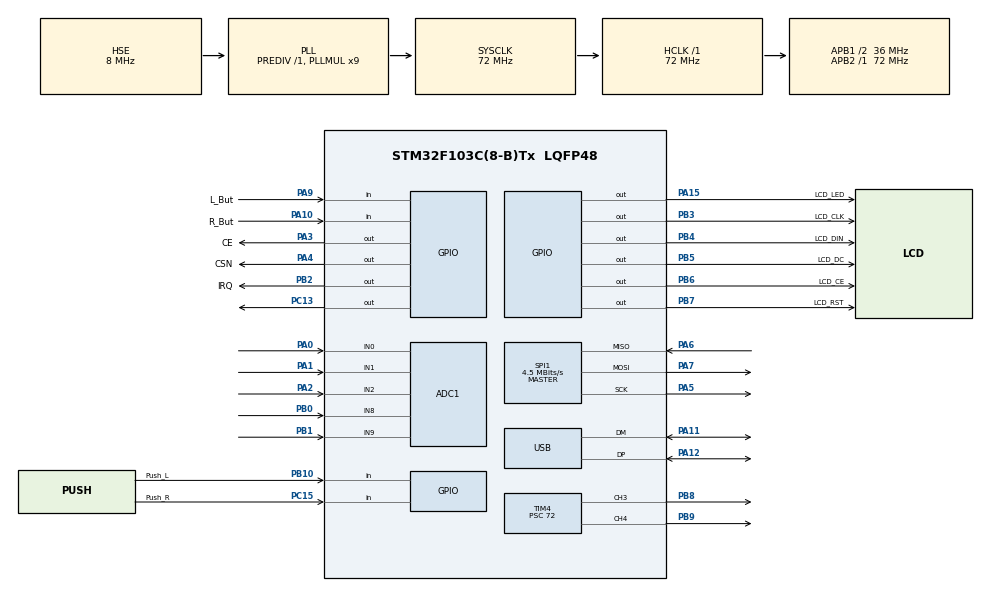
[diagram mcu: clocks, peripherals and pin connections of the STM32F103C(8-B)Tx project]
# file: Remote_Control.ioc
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ADC1.Channel-10\#ChannelRegularConversion=ADC_CHANNEL_8
ADC1.Channel-11\#ChannelRegularConversion=ADC_CHANNEL_9
ADC1.Channel-12\#ChannelRegularConversion=ADC_CHANNEL_2
ADC1.Channel-13\#ChannelRegularConversion=ADC_CHANNEL_0
ADC1.Channel-8\#ChannelRegularConversion=ADC_CHANNEL_0
ADC1.Channel-9\#ChannelRegularConversion=ADC_CHANNEL_1
ADC1.InjNumberOfConversion=0
ADC1.NbrOfConversion=6
ADC1.NbrOfConversionFlag=1
ADC1.Rank-10\#ChannelRegularConversion=3
ADC1.Rank-11\#ChannelRegularConversion=4
ADC1.Rank-12\#ChannelRegularConversion=5
ADC1.Rank-13\#ChannelRegularConversion=6
ADC1.Rank-8\#ChannelRegularConversion=1
ADC1.Rank-9\#ChannelRegularConversion=2
ADC1.SamplingTime-10\#ChannelRegularConversion=ADC_SAMPLETIME_7CYCLES_5
ADC1.SamplingTime-11\#ChannelRegularConversion=ADC_SAMPLETIME_7CYCLES_5
ADC1.SamplingTime-12\#ChannelRegularConversion=ADC_SAMPLETIME_7CYCLES_5
ADC1.SamplingTime-13\#ChannelRegularConversion=ADC_SAMPLETIME_1CYCLE_5
ADC1.SamplingTime-8\#ChannelRegularConversion=ADC_SAMPLETIME_7CYCLES_5
ADC1.SamplingTime-9\#ChannelRegularConversion=ADC_SAMPLETIME_7CYCLES_5
ADC1.master=1
Dma.ADC1.0.Direction=DMA_PERIPH_TO_MEMORY
Dma.ADC1.0.Instance=DMA1_Channel1
Dma.ADC1.0.MemDataAlignment=DMA_MDATAALIGN_HALFWORD
Dma.ADC1.0.MemInc=DMA_MINC_ENABLE
Dma.ADC1.0.Mode=DMA_CIRCULAR
Dma.ADC1.0.PeriphDataAlignment=DMA_PDATAALIGN_HALFWORD
Dma.ADC1.0.PeriphInc=DMA_PINC_DISABLE
Dma.ADC1.0.Priority=DMA_PRIORITY_LOW
Dma.Request0=ADC1
Mcu.Family=STM32F1
Mcu.Name=STM32F103C(8-B)Tx
Mcu.Package=LQFP48
NVIC.DMA1_Channel1_IRQn=true\:0\:0\:false\:false\:true\:false\:true
NVIC.PriorityGroup=NVIC_PRIORITYGROUP_4
NVIC.USB_LP_CAN1_RX0_IRQn=true\:0\:0\:false\:false\:true\:false\:true
PA0-WKUP.Signal=ADCx_IN0
PA1.Signal=ADCx_IN1
PA10.GPIO_Label=R_But
PA10.GPIO_PuPd=GPIO_PULLUP
PA10.Signal=GPIO_Input
PA11.Mode=Device
PA11.Signal=USB_DM
PA12.Mode=Device
PA12.Signal=USB_DP
PA13.Mode=Serial_Wire
PA13.Signal=SYS_JTMS-SWDIO
PA14.Mode=Serial_Wire
PA14.Signal=SYS_JTCK-SWCLK
PA15.GPIO_Label=LCD_LED
PA15.Signal=GPIO_Output
PA2.Signal=ADCx_IN2
PA3.GPIO_Label=CE
PA3.Signal=GPIO_Output
PA4.GPIO_Label=CSN
PA4.Signal=GPIO_Output
PA5.Mode=Full_Duplex_Master
PA5.Signal=SPI1_SCK
PA6.Mode=Full_Duplex_Master
PA6.Signal=SPI1_MISO
PA7.Mode=Full_Duplex_Master
PA7.Signal=SPI1_MOSI
PA9.GPIO_Label=L_But
PA9.GPIO_PuPd=GPIO_PULLUP
PA9.Signal=GPIO_Input
PB0.Signal=ADCx_IN8
PB1.Signal=ADCx_IN9
PB10.GPIO_Label=Push_L
PB10.GPIO_PuPd=GPIO_PULLUP
PB10.Signal=GPIO_Input
PB2.GPIO_Label=IRQ
PB2.Signal=GPIO_Output
PB3.GPIO_Label=LCD_CLK
PB3.Signal=GPIO_Output
PB4.GPIO_Label=LCD_DIN
PB4.Signal=GPIO_Output
PB5.GPIO_Label=LCD_DC
PB5.Signal=GPIO_Output
PB6.GPIO_Label=LCD_CE
PB6.Signal=GPIO_Output
PB7.GPIO_Label=LCD_RST
PB7.Signal=GPIO_Output
PB8.Signal=S_TIM4_CH3
PB9.Signal=S_TIM4_CH4
PC13-TAMPER-RTC.GPIO_ModeDefaultOutputPP=GPIO_MODE_OUTPUT_OD
PC13-TAMPER-RTC.PinState=GPIO_PIN_RESET
PC13-TAMPER-RTC.Signal=GPIO_Output
PC15-OSC32_OUT.GPIO_Label=Push_R
PC15-OSC32_OUT.GPIO_PuPd=GPIO_PULLUP
PC15-OSC32_OUT.Signal=GPIO_Input
PD0-OSC_IN.Mode=HSE-External-Oscillator
PD0-OSC_IN.Signal=RCC_OSC_IN
PD1-OSC_OUT.Mode=HSE-External-Oscillator
PD1-OSC_OUT.Signal=RCC_OSC_OUT
ProjectManager.HeapSize=0x200
ProjectManager.StackSize=0x400
ProjectManager.TargetToolchain=MDK-ARM V5
RCC.ADCPresc=RCC_ADCPCLK2_DIV6
RCC.AHBFreq_Value=72000000
RCC.APB1CLKDivider=RCC_HCLK_DIV2
RCC.APB1Freq_Value=36000000
RCC.APB1TimFreq_Value=72000000
RCC.APB2Freq_Value=72000000
RCC.APB2TimFreq_Value=72000000
RCC.HCLKFreq_Value=72000000
RCC.PLLMUL=RCC_PLL_MUL9
RCC.PLLSourceVirtual=RCC_PLLSOURCE_HSE
RCC.SYSCLKFreq_VALUE=72000000
RCC.SYSCLKSource=RCC_SYSCLKSOURCE_PLLCLK
RCC.USBFreq_Value=48000000
RCC.USBPrescaler=RCC_USBCLKSOURCE_PLL_DIV1_5
SH.ADCx_IN0.0=ADC1_IN0,IN0
SH.ADCx_IN1.0=ADC1_IN1,IN1
SH.ADCx_IN2.0=ADC1_IN2,IN2
SH.ADCx_IN8.0=ADC1_IN8,IN8
SH.ADCx_IN9.0=ADC1_IN9,IN9
SH.S_TIM4_CH3.0=TIM4_CH3,PWM Generation3 CH3
SH.S_TIM4_CH4.0=TIM4_CH4,PWM Generation4 CH4
SPI1.BaudRatePrescaler=SPI_BAUDRATEPRESCALER_16
SPI1.CalculateBaudRate=4.5 MBits/s
SPI1.Direction=SPI_DIRECTION_2LINES
SPI1.Mode=SPI_MODE_MASTER
SPI1.VirtualType=VM_MASTER
TIM4.Channel-PWM\ Generation3\ CH3=TIM_CHANNEL_3
TIM4.Channel-PWM\ Generation4\ CH4=TIM_CHANNEL_4
TIM4.Period=250
TIM4.Prescaler=72
TIM4.Pulse-PWM\ Generation3\ CH3=125
TIM4.Pulse-PWM\ Generation4\ CH4=125
USB_DEVICE.CLASS_NAME_FS=CDC
USB_DEVICE.VirtualMode=Cdc
USB_DEVICE.VirtualModeFS=Cdc_FS
VP_USB_DEVICE_VS_USB_DEVICE_CDC_FS.Mode=CDC_FS
board=custom

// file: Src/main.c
/* USER CODE BEGIN Header */
/**
  ******************************************************************************
  * @file           : main.c
  * @brief          : Main program body
  ******************************************************************************
  * @attention
  *
  * <h2><center>&copy; Copyright (c) 2020 STMicroelectronics.
  * All rights reserved.</center></h2>
  *
  * This software component is licensed by ST under Ultimate Liberty license
  * SLA0044, the "License"; You may not use this file except in compliance with
  * the License. You may obtain a copy of the License at:
  *                             www.st.com/SLA0044
  *
  ******************************************************************************
  */
/* USER CODE END Header */
#include "main.h"
#include "usb_device.h"

/* USER CODE BEGIN Includes */
#include "usbd_cdc_if.h"
#include "radio_mod.h"
#include "nokia5110_LCD.h"
/* USER CODE END Includes */

ADC_HandleTypeDef hadc1;
DMA_HandleTypeDef hdma_adc1;

SPI_HandleTypeDef hspi1;

TIM_HandleTypeDef htim4;

/* USER CODE BEGIN PV */
char str_tx[121] = {0,};
volatile uint16_t adc[5] = {0,}; // у нас пять каналов поэтому массив из пяти элементов
volatile uint8_t flag = 0; // для DMA
uint8_t adc1, adc2, adc3, adc4, adc5;
const float kd = 3.52;
char tx[21], x = 0, m = 1, y = 0;
bool a = true, button = false;
int i = 0;
unsigned char subtrim = 70, sens1 = 30, sens2 = 30;

unsigned char but_right_prev;// переменная для хранения предыдущего состояния стика R
unsigned char but_left_prev;// переменная для хранения предыдущего состояния стика L
unsigned char but_r_prev;// переменная для хранения предыдущего состояния кнопки R
unsigned char but_l_prev;// переменная для хранения предыдущего состояния кнопки L

/* USER CODE END PV */

void SystemClock_Config(void);
static void MX_GPIO_Init(void);
static void MX_SPI1_Init(void);
static void MX_DMA_Init(void);
static void MX_ADC1_Init(void);
static void MX_TIM4_Init(void);
/* USER CODE BEGIN PFP */
void USB_Reset(void);
long map(long x, long in_min, long in_max, long out_min, long out_max);
bool twobuttons(void);
void button_r(void);
void button_l(void);
void led_lcd(void);
// кнопка правого стика
bool right_button(void);
// кнопка левого стика
bool left_button(void);

////////////////MENU////////////////////
void main_menu(unsigned char x);
void flight(void);
void settings(void);
void menu(unsigned char x);
void sensors(void);
void test(void);
/* USER CODE END PFP */

/* USER CODE BEGIN 0 */
void HAL_ADC_ConvCpltCallback(ADC_HandleTypeDef* hadc)
{
    if(hadc->Instance == ADC1)
    {
        flag = 1;
    }
}
/* USER CODE END 0 */

int main(void)
{
  /* USER CODE BEGIN 1 */
	// Настраиваем порты LCD
	LCD_setRST(LCD_RST_GPIO_Port, LCD_RST_Pin);
	LCD_setCE(LCD_CE_GPIO_Port, 	 LCD_CE_Pin);
	LCD_setDC(LCD_DC_GPIO_Port, 	 LCD_DC_Pin);
	LCD_setDIN(LCD_DIN_GPIO_Port, LCD_DIN_Pin);
	LCD_setCLK(LCD_CLK_GPIO_Port, LCD_CLK_Pin);
  /* USER CODE END 1 */

  /* MCU Configuration--------------------------------------------------------*/

  /* Reset of all peripherals, Initializes the Flash interface and the Systick. */
  HAL_Init();

  /* USER CODE BEGIN Init */
	DWT_Init(); // счётчик для микросекундных пауз

	but_right_prev = HAL_GPIO_ReadPin(GPIOC, Push_R_Pin);// переменная для хранения предыдущего состояния стика R
	but_left_prev = HAL_GPIO_ReadPin(GPIOB, Push_L_Pin); // переменная для хранения предыдущего состояния стика L

	but_r_prev = HAL_GPIO_ReadPin(R_But_GPIO_Port, R_But_Pin);// переменная для хранения предыдущего состояния кнопки R
	but_l_prev = HAL_GPIO_ReadPin(L_But_GPIO_Port, L_But_Pin);;// переменная для хранения предыдущего состояния кнопки L

  /* USER CODE END Init */

  /* Configure the system clock */
  SystemClock_Config();

  /* Initialize all configured peripherals */
  MX_GPIO_Init();
  MX_SPI1_Init();
  MX_USB_DEVICE_Init();
  MX_DMA_Init();
  MX_ADC1_Init();
  MX_TIM4_Init();
  /* USER CODE BEGIN 2 */

	const uint64_t pipe1 = 0xE8E8F0F0E2LL; // адрес приемника

	uint8_t connected = isChipConnected(); // проверка на подключените модуля к SPI

	uint8_t res = NRF_Init(); // инициализация

  ////////////// УСТАНОВКИ ////////////////
  enableAckPayload();
  setChannel(11); // 11 канал
  openWritingPipe(pipe1); // 1 труба
  ///////////////////////////////////

// ################################# DEBUG_RC OUT ############################

//HAL_Delay(2000);
//char str[64] = {0,};
//snprintf(str, 64, "Connected: %s\r\n", connected ? "OK" : "NOT OK");
//CDC_Transmit_FS((unsigned char*)str, strlen(str));
//HAL_Delay(500);

//snprintf(str, 64, "Init: %s\r\n", res > 0 && res < 255 ? "OK" : "NOT OK");
//CDC_Transmit_FS((unsigned char*)str, strlen(str));

//if (res > 0 && res < 255)
//{
//	uint8_t status = get_status();
//	snprintf(str, 64, "Status: 0x%02x \r\n", status);
//	CDC_Transmit_FS((unsigned char*)str, strlen(str));
//	HAL_Delay(500);

//	status = getPALevel();
//	snprintf(str, 64, "PA_Level: 0x%02x \n", status);
//	CDC_Transmit_FS((unsigned char*)str, strlen(str));
//	HAL_Delay(500);

//	if(status == 0x00)
//	{
//		CDC_Transmit_FS((unsigned char*)"RF24_PA_MIN\r\n", strlen("RF24_PA_MIN\r\n"));
//	}
//	else if(status == 0x01)
//	{
//		CDC_Transmit_FS((unsigned char*)"RF24_PA_LOW\r\n", strlen("RF24_PA_LOW\r\n"));
//	}
//	else if(status == 0x02)
//	{
//		CDC_Transmit_FS((unsigned char*)"RF24_PA_HIGH\r\n", strlen("RF24_PA_HIGH\r\n"));
//	}
//	else if(status == 0x03)
//	{
//		CDC_Transmit_FS((unsigned char*)"RF24_PA_MAX\r\n", strlen("RF24_PA_MAX\r\n"));
//	}
//	HAL_Delay(500);
//
//	status = getChannel();
//	snprintf(str, 64, "Channel: 0x%02x № %d \r\n", status, status);
//	CDC_Transmit_FS((unsigned char*)str, strlen(str));
//	HAL_Delay(500);

//	status = getDataRate();
//	snprintf(str, 64, "Data_Rate: 0x%02x \r\n", status);
//	CDC_Transmit_FS((unsigned char*)str, strlen(str));
//	HAL_Delay(500);

//	if(status == 0x02)
//	{
//		CDC_Transmit_FS((unsigned char*)"RF24_250KBPS\r\n", strlen("RF24_250KBPS\r\n"));
//	}
//	else if(status == 0x01)
//	{
//		CDC_Transmit_FS((unsigned char*)"RF24_2MBPS\r\n", strlen("RF24_2MBPS\r\n"));
//	}
//	else
//	{
//		CDC_Transmit_FS((unsigned char*)"RF24_1MBPS\r\n", strlen("RF24_1MBPS\r\n"));
//	}
//	HAL_Delay(500);

//	status = getPayloadSize();
//	snprintf(str, 64, "Payload_Size: %d \r\n", status);
//	CDC_Transmit_FS((unsigned char*)str, strlen(str));
//	HAL_Delay(500);

//	status = getCRCLength();
//	snprintf(str, 64, "CRC_Length: 0x%02x \r\n", status);
//	CDC_Transmit_FS((unsigned char*)str, strlen(str));
//	HAL_Delay(500);

//	if(status == 0x00)
//	{
//		CDC_Transmit_FS((unsigned char*)"RF24_CRC_DISABLED\r\n", strlen("RF24_CRC_DISABLED\r\n"));
//	}
//	else if(status == 0x01)
//	{
//		CDC_Transmit_FS((unsigned char*)"RF24_CRC_8\r\n", strlen("RF24_CRC_8\r\n"));
//	}
//	else if(status == 0x02)
//	{
//		CDC_Transmit_FS((unsigned char*)"RF24_CRC_16\r\n", strlen("RF24_CRC_16\r\n"));
//	}
//	HAL_Delay(500);
//}
//else
//{
//	HAL_Delay(500);
//	snprintf(str, 64, "Module is not connected or defective");
//	CDC_Transmit_FS((unsigned char*)str, strlen(str));
//	HAL_Delay(500);
//}

// ############################# END OF DEBUG_RC OUT #########################

  maskIRQ(true, true, true); // маскируем прерывания

	// Запуск АЦП
	HAL_ADCEx_Calibration_Start(&hadc1);
	HAL_ADC_Start_DMA(&hadc1, (uint32_t*)&adc, 4);
	HAL_ADC_Start_IT(&hadc1); // это здесь не нужно

	// Запуск ШИМ
	HAL_TIM_PWM_Start_IT(&htim4, TIM_CHANNEL_4);
	HAL_Delay(80);
	HAL_TIM_PWM_Stop_IT(&htim4, TIM_CHANNEL_4);

	LCD_init(); // Инициализация LCD

	HAL_GPIO_WritePin(LCD_LED_GPIO_Port, LCD_LED_Pin, GPIO_PIN_RESET);
  /* USER CODE END 2 */

  /* Infinite loop */
  /* USER CODE BEGIN WHILE */
  while (1)
  {
		menu(x);
		//test();
    /* USER CODE END WHILE */

	}
}

void SystemClock_Config(void)
{
  RCC_OscInitTypeDef RCC_OscInitStruct = {0};
  RCC_ClkInitTypeDef RCC_ClkInitStruct = {0};
  RCC_PeriphCLKInitTypeDef PeriphClkInit = {0};

  /** Initializes the RCC Oscillators according to the specified parameters
  * in the RCC_OscInitTypeDef structure.
  */
  RCC_OscInitStruct.OscillatorType = RCC_OSCILLATORTYPE_HSE;
  RCC_OscInitStruct.HSEState = RCC_HSE_ON;
  RCC_OscInitStruct.HSEPredivValue = RCC_HSE_PREDIV_DIV1;
  RCC_OscInitStruct.HSIState = RCC_HSI_ON;
  RCC_OscInitStruct.PLL.PLLState = RCC_PLL_ON;
  RCC_OscInitStruct.PLL.PLLSource = RCC_PLLSOURCE_HSE;
  RCC_OscInitStruct.PLL.PLLMUL = RCC_PLL_MUL9;
  if (HAL_RCC_OscConfig(&RCC_OscInitStruct) != HAL_OK)
  {
    Error_Handler();
  }
  /** Initializes the CPU, AHB and APB buses clocks
  */
  RCC_ClkInitStruct.ClockType = RCC_CLOCKTYPE_HCLK|RCC_CLOCKTYPE_SYSCLK
                              |RCC_CLOCKTYPE_PCLK1|RCC_CLOCKTYPE_PCLK2;
  RCC_ClkInitStruct.SYSCLKSource = RCC_SYSCLKSOURCE_PLLCLK;
  RCC_ClkInitStruct.AHBCLKDivider = RCC_SYSCLK_DIV1;
  RCC_ClkInitStruct.APB1CLKDivider = RCC_HCLK_DIV2;
  RCC_ClkInitStruct.APB2CLKDivider = RCC_HCLK_DIV1;

  if (HAL_RCC_ClockConfig(&RCC_ClkInitStruct, FLASH_LATENCY_2) != HAL_OK)
  {
    Error_Handler();
  }
  PeriphClkInit.PeriphClockSelection = RCC_PERIPHCLK_ADC|RCC_PERIPHCLK_USB;
  PeriphClkInit.AdcClockSelection = RCC_ADCPCLK2_DIV6;
  PeriphClkInit.UsbClockSelection = RCC_USBCLKSOURCE_PLL_DIV1_5;
  if (HAL_RCCEx_PeriphCLKConfig(&PeriphClkInit) != HAL_OK)
  {
    Error_Handler();
  }
}

static void MX_ADC1_Init(void)
{

  ADC_ChannelConfTypeDef sConfig = {0};

  /** Common config
  */
  hadc1.Instance = ADC1;
  hadc1.Init.ScanConvMode = ADC_SCAN_ENABLE;
  hadc1.Init.ContinuousConvMode = DISABLE;
  hadc1.Init.DiscontinuousConvMode = DISABLE;
  hadc1.Init.ExternalTrigConv = ADC_SOFTWARE_START;
  hadc1.Init.DataAlign = ADC_DATAALIGN_RIGHT;
  hadc1.Init.NbrOfConversion = 6;
  if (HAL_ADC_Init(&hadc1) != HAL_OK)
  {
    Error_Handler();
  }
  /** Configure Regular Channel
  */
  sConfig.Channel = ADC_CHANNEL_0;
  sConfig.Rank = ADC_REGULAR_RANK_1;
  sConfig.SamplingTime = ADC_SAMPLETIME_7CYCLES_5;
  if (HAL_ADC_ConfigChannel(&hadc1, &sConfig) != HAL_OK)
  {
    Error_Handler();
  }
  /** Configure Regular Channel
  */
  sConfig.Channel = ADC_CHANNEL_1;
  sConfig.Rank = ADC_REGULAR_RANK_2;
  if (HAL_ADC_ConfigChannel(&hadc1, &sConfig) != HAL_OK)
  {
    Error_Handler();
  }
  /** Configure Regular Channel
  */
  sConfig.Channel = ADC_CHANNEL_8;
  sConfig.Rank = ADC_REGULAR_RANK_3;
  if (HAL_ADC_ConfigChannel(&hadc1, &sConfig) != HAL_OK)
  {
    Error_Handler();
  }
  /** Configure Regular Channel
  */
  sConfig.Channel = ADC_CHANNEL_9;
  sConfig.Rank = ADC_REGULAR_RANK_4;
  if (HAL_ADC_ConfigChannel(&hadc1, &sConfig) != HAL_OK)
  {
    Error_Handler();
  }
  /** Configure Regular Channel
  */
  sConfig.Channel = ADC_CHANNEL_2;
  sConfig.Rank = ADC_REGULAR_RANK_5;
  if (HAL_ADC_ConfigChannel(&hadc1, &sConfig) != HAL_OK)
  {
    Error_Handler();
  }

}

static void MX_SPI1_Init(void)
{

  /* SPI1 parameter configuration*/
  hspi1.Instance = SPI1;
  hspi1.Init.Mode = SPI_MODE_MASTER;
  hspi1.Init.Direction = SPI_DIRECTION_2LINES;
  hspi1.Init.DataSize = SPI_DATASIZE_8BIT;
  hspi1.Init.CLKPolarity = SPI_POLARITY_LOW;
  hspi1.Init.CLKPhase = SPI_PHASE_1EDGE;
  hspi1.Init.NSS = SPI_NSS_SOFT;
  hspi1.Init.BaudRatePrescaler = SPI_BAUDRATEPRESCALER_16;
  hspi1.Init.FirstBit = SPI_FIRSTBIT_MSB;
  hspi1.Init.TIMode = SPI_TIMODE_DISABLE;
  hspi1.Init.CRCCalculation = SPI_CRCCALCULATION_DISABLE;
  hspi1.Init.CRCPolynomial = 10;
  if (HAL_SPI_Init(&hspi1) != HAL_OK)
  {
    Error_Handler();
  }

}

static void MX_TIM4_Init(void)
{

  TIM_MasterConfigTypeDef sMasterConfig = {0};
  TIM_OC_InitTypeDef sConfigOC = {0};

  htim4.Instance = TIM4;
  htim4.Init.Prescaler = 72;
  htim4.Init.CounterMode = TIM_COUNTERMODE_UP;
  htim4.Init.Period = 250;
  htim4.Init.ClockDivision = TIM_CLOCKDIVISION_DIV1;
  htim4.Init.AutoReloadPreload = TIM_AUTORELOAD_PRELOAD_DISABLE;
  if (HAL_TIM_PWM_Init(&htim4) != HAL_OK)
  {
    Error_Handler();
  }
  sMasterConfig.MasterOutputTrigger = TIM_TRGO_RESET;
  sMasterConfig.MasterSlaveMode = TIM_MASTERSLAVEMODE_DISABLE;
  if (HAL_TIMEx_MasterConfigSynchronization(&htim4, &sMasterConfig) != HAL_OK)
  {
    Error_Handler();
  }
  sConfigOC.OCMode = TIM_OCMODE_PWM1;
  sConfigOC.Pulse = 125;
  sConfigOC.OCPolarity = TIM_OCPOLARITY_HIGH;
  sConfigOC.OCFastMode = TIM_OCFAST_DISABLE;
  if (HAL_TIM_PWM_ConfigChannel(&htim4, &sConfigOC, TIM_CHANNEL_3) != HAL_OK)
  {
    Error_Handler();
  }
  if (HAL_TIM_PWM_ConfigChannel(&htim4, &sConfigOC, TIM_CHANNEL_4) != HAL_OK)
  {
    Error_Handler();
  }
  HAL_TIM_MspPostInit(&htim4);

}

static void MX_DMA_Init(void)
{

  /* DMA controller clock enable */
  __HAL_RCC_DMA1_CLK_ENABLE();

  /* DMA interrupt init */
  /* DMA1_Channel1_IRQn interrupt configuration */
  HAL_NVIC_SetPriority(DMA1_Channel1_IRQn, 0, 0);
  HAL_NVIC_EnableIRQ(DMA1_Channel1_IRQn);

}

static void MX_GPIO_Init(void)
{
  GPIO_InitTypeDef GPIO_InitStruct = {0};

  /* GPIO Ports Clock Enable */
  __HAL_RCC_GPIOC_CLK_ENABLE();
  __HAL_RCC_GPIOD_CLK_ENABLE();
  __HAL_RCC_GPIOA_CLK_ENABLE();
  __HAL_RCC_GPIOB_CLK_ENABLE();

	USB_Reset();

  /*Configure GPIO pin Output Level */
  HAL_GPIO_WritePin(GPIOC, GPIO_PIN_13, GPIO_PIN_RESET);

  /*Configure GPIO pin Output Level */
  HAL_GPIO_WritePin(GPIOA, CE_Pin|CSN_Pin|LCD_LED_Pin, GPIO_PIN_RESET);

  /*Configure GPIO pin Output Level */
  HAL_GPIO_WritePin(GPIOB, IRQ_Pin|LCD_CLK_Pin|LCD_DIN_Pin|LCD_DC_Pin
                          |LCD_CE_Pin|LCD_RST_Pin, GPIO_PIN_RESET);

  /*Configure GPIO pin : PC13 */
  GPIO_InitStruct.Pin = GPIO_PIN_13;
  GPIO_InitStruct.Mode = GPIO_MODE_OUTPUT_OD;
  GPIO_InitStruct.Pull = GPIO_NOPULL;
  GPIO_InitStruct.Speed = GPIO_SPEED_FREQ_LOW;
  HAL_GPIO_Init(GPIOC, &GPIO_InitStruct);

  /*Configure GPIO pin : Push_R_Pin */
  GPIO_InitStruct.Pin = Push_R_Pin;
  GPIO_InitStruct.Mode = GPIO_MODE_INPUT;
  GPIO_InitStruct.Pull = GPIO_PULLUP;
  HAL_GPIO_Init(Push_R_GPIO_Port, &GPIO_InitStruct);

  /*Configure GPIO pins : CE_Pin CSN_Pin LCD_LED_Pin */
  GPIO_InitStruct.Pin = CE_Pin|CSN_Pin|LCD_LED_Pin;
  GPIO_InitStruct.Mode = GPIO_MODE_OUTPUT_PP;
  GPIO_InitStruct.Pull = GPIO_NOPULL;
  GPIO_InitStruct.Speed = GPIO_SPEED_FREQ_LOW;
  HAL_GPIO_Init(GPIOA, &GPIO_InitStruct);

  /*Configure GPIO pins : IRQ_Pin LCD_CLK_Pin LCD_DIN_Pin LCD_DC_Pin
                           LCD_CE_Pin LCD_RST_Pin */
  GPIO_InitStruct.Pin = IRQ_Pin|LCD_CLK_Pin|LCD_DIN_Pin|LCD_DC_Pin
                          |LCD_CE_Pin|LCD_RST_Pin;
  GPIO_InitStruct.Mode = GPIO_MODE_OUTPUT_PP;
  GPIO_InitStruct.Pull = GPIO_NOPULL;
  GPIO_InitStruct.Speed = GPIO_SPEED_FREQ_LOW;
  HAL_GPIO_Init(GPIOB, &GPIO_InitStruct);

  /*Configure GPIO pin : Push_L_Pin */
  GPIO_InitStruct.Pin = Push_L_Pin;
  GPIO_InitStruct.Mode = GPIO_MODE_INPUT;
  GPIO_InitStruct.Pull = GPIO_PULLUP;
  HAL_GPIO_Init(Push_L_GPIO_Port, &GPIO_InitStruct);

  /*Configure GPIO pins : L_But_Pin R_But_Pin */
  GPIO_InitStruct.Pin = L_But_Pin|R_But_Pin;
  GPIO_InitStruct.Mode = GPIO_MODE_INPUT;
  GPIO_InitStruct.Pull = GPIO_PULLUP;
  HAL_GPIO_Init(GPIOA, &GPIO_InitStruct);

}

/* USER CODE BEGIN 4 */
// для сброса USB
void USB_Reset(void)
{
	 GPIO_InitTypeDef GPIO_InitStruct = {0};

	 // инициализируем пин DP как выход
	 GPIO_InitStruct.Pin = GPIO_PIN_12;
	 GPIO_InitStruct.Mode = GPIO_MODE_OUTPUT_PP;
	 GPIO_InitStruct.Speed = GPIO_SPEED_FREQ_LOW;
	 HAL_GPIO_Init(GPIOA, &GPIO_InitStruct);
	 HAL_GPIO_WritePin(GPIOA, GPIO_PIN_12, GPIO_PIN_RESET); // прижимаем DP к "земле"
	 for(uint16_t i = 0; i < 2000; i++) {}; // немного ждём

	 // переинициализируем пин для работы с USB
	 GPIO_InitStruct.Mode = GPIO_MODE_INPUT;
	 GPIO_InitStruct.Pull = GPIO_NOPULL;
	 HAL_GPIO_Init(GPIOA, &GPIO_InitStruct);
	 for(uint16_t i = 0; i < 2000; i++) {}; // немного ждём
}

// функция для отображения текущего меню
void menu(unsigned char x)
{
	switch(x)
	{
		case 0: // находимся в главном меню
		while(x == 0) //
		{
			// чтение текущего (нового) состояния кнопки
			unsigned char but_right_cur = HAL_GPIO_ReadPin(GPIOC, Push_R_Pin);
			unsigned char but_left_cur = HAL_GPIO_ReadPin(GPIOB, Push_L_Pin);

			unsigned char but_r_cur = HAL_GPIO_ReadPin(R_But_GPIO_Port, R_But_Pin);
			unsigned char but_l_cur = HAL_GPIO_ReadPin(L_But_GPIO_Port, L_But_Pin);

			// кнопка была нажата, если
			// прежнее состояние - отпущена (бит = 1),
			// а новое состояние - нажата (бит = 0)
			if ((but_right_prev == GPIO_PIN_RESET) && (but_right_cur == GPIO_PIN_SET))
			{
				m++;
				if (m > 4)
				{
					m = 1;
				}
				HAL_GPIO_TogglePin(GPIOC, GPIO_PIN_13);
			}
				// запоминаем текущее состояние кнопки
				but_right_prev = but_right_cur;

		if ((but_left_prev == GPIO_PIN_RESET) && (but_left_cur == GPIO_PIN_SET))
			{
				m--;
				if (m < 1)
				{
					m = 4;
				}
				HAL_GPIO_TogglePin(GPIOC, GPIO_PIN_13);
			}
				// запоминаем текущее состояние кнопки
			but_left_prev = but_left_cur;

			main_menu(m);
			led_lcd();

			if (twobuttons())
			{
				x = m;
				LCD_clrScr();
			}
		}
//		break;

		case 1: // в режиме полёта
		while(x == 1)
		{
			flight();
			if (twobuttons()) // если зажали две кнопки, то выходим
			{
				x = 0; // возвращаемся в главное меню
				m = 1;
				button = false; // Чтобы зайти с выкл мотором, если вышли с вкл
				LCD_clrScr();
			}
			led_lcd();
		}
//		break;

		case 2: // находимся в настройках
		while(x == 2)
		{			//
			settings();
			if (twobuttons()) // если зажали две кнопки, то выходим
			{
				x = 0; // возвращаемся в главное меню
				m = 2; // возвращаемся в главное меню на позицию настроек
				LCD_clrScr();
			}
			led_lcd();
		}
//		break;

		case 3: // находимся в .....
		while(x == 3)
		{
//			// чтение текущего (нового) состояния кнопки
//			unsigned char but_right_cur = HAL_GPIO_ReadPin(GPIOC, Push_R_Pin);
//			unsigned char but_left_cur = HAL_GPIO_ReadPin(GPIOB, Push_L_Pin);
//
//			// кнопка была нажата, если
//			// прежнее состояние - отпущена (бит = 1),
//			// а новое состояние - нажата (бит = 0)
//			if ((but_right_prev == GPIO_PIN_RESET) && (but_right_cur == GPIO_PIN_SET))
//			{
//				subtrim++;
//				HAL_GPIO_TogglePin(GPIOC, GPIO_PIN_13);
//			}
//				// запоминаем текущее состояние кнопки
//				but_right_prev = but_right_cur;
//
//			if ((but_left_prev == GPIO_PIN_RESET) && (but_left_cur == GPIO_PIN_SET))
//			{
//				subtrim--;
//				HAL_GPIO_TogglePin(GPIOC, GPIO_PIN_13);
//			}
//				// запоминаем текущее состояние кнопки
//			but_left_prev = but_left_cur;

			sensors();
			if (twobuttons()) // если зажали две кнопки, то выходим
			{
				x = 0; // возвращаемся в главное меню
				m = 3; // позиция сенсоров
				LCD_clrScr();
			}
			led_lcd();
		}
		break;
	}
}

//MENU
void main_menu(unsigned char x)
{
	LCD_print("MENU", 30, 0);
	switch(x)
	{
		case 1:
		LCD_invertText(true);
		LCD_print("Flight", 23, 1);
		LCD_invertText(false);
		LCD_print("Settings", 23, 2);
		LCD_print("Sensors", 23, 3);
		LCD_print("Somethings", 23, 4);
		break;

		case 2:
		LCD_print("Flight", 23, 1);
		LCD_invertText(true);
		LCD_print("Settings", 23, 2);
		LCD_invertText(false);
		LCD_print("Sensors", 23, 3);
		LCD_print("Somethings", 23, 4);
		break;

		case 3:
		LCD_print("Flight", 23, 1);
		LCD_print("Settings", 23, 2);
		LCD_invertText(true);
		LCD_print("Sensors", 23, 3);
		LCD_invertText(false);
		LCD_print("Somethings", 23, 4);
		break;

		case 4:
		LCD_print("Flight", 23, 1);
		LCD_print("Settings", 23, 2);
		LCD_print("Sensors", 23, 3);
		LCD_invertText(true);
		LCD_print("Somethings", 23, 4);
		LCD_invertText(false);
		break;
	}
}

// Режим полёта
void flight(void)
{
	LCD_print("Flight Mode", 10, 0);

	uint8_t nrf_data[32] = {0,}; // буфер указываем максимального размера

	if(flag)
	{
		flag = 0;

		HAL_ADC_Stop_DMA(&hadc1); // это необязательно

		adc1 = map(adc[1], 0, 4095, 1, 255); // 1 канал высота
		adc2 = map(adc[0], 0, 4095, 1, 255); // 0 канал элероны
		adc3 = map(adc[3], 0, 4095, 1, 255); // 9 канал АЦП - мотор
		adc4 = map(adc[4], 0, 4095, 1, 255); // 2 канал АЦП - киль

		LCD_print("X1:", 0, 1);
		LCD_var_str(18, 1, adc[4], 4);
		LCD_print("X2:", 43, 1);
		LCD_var_str(60, 1, adc[0], 4);

		LCD_print("Y1:", 0, 2);
		LCD_var_str(18, 2, adc[3], 4);
		LCD_print("Y2:", 43, 2);
		LCD_var_str(60, 2, adc[1], 4);

		float vbat = (3.3/4095)*adc[2]*kd * 10; // 3,3 В на делителе при 11,6 В максимальном, дальше делитель не имее смысла

		LCD_print("VBat:", 0, 3);
		LCD_var_str(30, 3, vbat, 3);
		LCD_print("Bat:", 43, 3);

		LCD_print("Signal:", 0, 4);

		///////////////////////////////////// ПЕРЕДАЧА /////////////////////////////////////////////
		nrf_data[0] = 77;
		nrf_data[1] = 86;
		nrf_data[2] = 97;

		nrf_data[3] = adc1;
		nrf_data[4] = adc2;
		nrf_data[7] = adc4;

		if (button){
		nrf_data[5] = adc3;
		}
		else{
			nrf_data[5] = 1;
		}
		nrf_data[6] = 50; // установки не шлём

		uint8_t remsg = 0; // переменная для приёма байта пришедшего вместе с ответом
		float vbatreceiver; // для вычисления напряжения батареи еа приемнике

		if(write(&nrf_data, strlen((const char*)nrf_data))) // отправляем данные
		{
			if(isAckPayloadAvailable()) // проверяем пришло ли что-то вместе с ответом
			{
			read(&remsg, sizeof(remsg)); // получаем напряжение с батареи с ответом подтверждения
				vbatreceiver = remsg / 10; // вычитаем напругу батареи, делим на 10 чтобы получить реальное число
				LCD_var_str(65, 3, vbatreceiver, 3);
				LCD_print("Yes", 45, 4);
			}
		}
		else
		LCD_print("No", 45, 4);

		adc[0] = 0;
		adc[1] = 0;
		adc[2] = 0;
		adc[3] = 0;
		adc[4] = 0;
		HAL_ADC_Start_DMA(&hadc1, (uint32_t*)&adc, 5);
	}

		// чтение текущего (нового) состояния кнопки
		unsigned char but_right_cur = HAL_GPIO_ReadPin(GPIOC, Push_R_Pin);
		unsigned char but_left_cur = HAL_GPIO_ReadPin(GPIOB, Push_L_Pin);

		if ((but_right_prev == GPIO_PIN_RESET) && (but_right_cur == GPIO_PIN_SET))
		{
			button = !button;
			// по нажатию R инвертируем светодиод PC13
			HAL_GPIO_TogglePin(GPIOC, GPIO_PIN_13);
		}
		but_right_prev = but_right_cur;

		if ((but_left_prev == GPIO_PIN_RESET) && (but_left_cur == GPIO_PIN_SET))
		{
			button = !button;
			// по нажатию R инвертируем светодиод PC13
			HAL_GPIO_TogglePin(GPIOC, GPIO_PIN_13);
		}
		but_left_prev = but_left_cur;
}

// Подменю настроек
void settings(void)
{
	uint8_t nrf_data[32] = {0,}; // буфер указываем максимального размера

	bool pin1 = HAL_GPIO_ReadPin(GPIOC, Push_R_Pin);
	bool pin2 = HAL_GPIO_ReadPin(GPIOB, Push_L_Pin);

	bool pin3 = HAL_GPIO_ReadPin(R_But_GPIO_Port, R_But_Pin);
	bool pin4 = HAL_GPIO_ReadPin(L_But_GPIO_Port, L_But_Pin);

	if(flag)
	{
		flag = 0;

		adc1 = map(adc[1], 0, 4095, 1, 255); // 1 канал высота
		adc2 = map(adc[0], 0, 4095, 1, 255); // 0 канал элероны
		adc3 = map(adc[3], 0, 4095, 1, 255); // 9 канал АЦП - мотор
		adc4 = map(adc[4], 0, 4095, 1, 255); // 2 канал АЦП - киль

		float vbat = (3.3/4095)*adc[2]*kd * 10;

		HAL_ADC_Stop_DMA(&hadc1);

		LCD_print("X1:", 0, 0);
		LCD_var_str(18, 0, adc[4], 4);
		LCD_print("X2:", 43, 0);
		LCD_var_str(60, 0, adc[0], 4);

		LCD_print("Y1:", 0, 1);
		LCD_var_str(18, 1, adc[3], 4);
		LCD_print("Y2:", 43, 1);
		LCD_var_str(60, 1, adc[1], 4);

		LCD_print("A5:", 0, 2);
		LCD_var_str(18, 2, adc[2], 4);

		LCD_print("VBat:", 0, 3);
		LCD_var_str(30, 3, vbat, 3);
		LCD_print("Bat:", 43, 3);

		LCD_print("Signal:", 0, 4);

		nrf_data[0] = 77;
		nrf_data[1] = 86;
		nrf_data[2] = 97;
		nrf_data[3] = adc1; //
		nrf_data[4] = adc2; //
		nrf_data[5] = 1;
		nrf_data[6] = 100; // чтобы приемник знал, что шлем установки
		nrf_data[7] = subtrim;
		nrf_data[8] = sens1;
		nrf_data[9] = sens2;
		nrf_data[10] = adc4;

		uint8_t remsg = 0; // переменная для приёма байта пришедшего вместе с ответом
		float vbatreceiver; // для вычисления напряжения батареи на приемнике

		if(write(&nrf_data, strlen((const char*)nrf_data))) // отправляем данные
		{
			if(isAckPayloadAvailable()) // проверяем пришло ли что-то вместе с ответом
			{
				read(&remsg, sizeof(remsg)); // получаем напряжение с батареи с ответом подтверждения
				vbatreceiver = remsg / 10; // вычитаем напругу батареи, делим на 10 чтобы получить реальное число
				LCD_var_str(65, 3, vbatreceiver, 3);
				LCD_print("Yes", 45, 4);
				snprintf(str_tx, 64, "Signal: Yes \r\n");
				CDC_Transmit_FS((unsigned char*)str_tx, strlen(str_tx));
			}
		}
		else
		snprintf(str_tx, 64, "Signal: Noo \r\n");
		CDC_Transmit_FS((unsigned char*)str_tx, strlen(str_tx));
		LCD_print("No", 45, 4);

		snprintf(str_tx, 120, "ADC1 X1:%d Y1:%d  M:%d Bat:%d Vbat:%d J_R:%d J_L:%d But_R:%d But_L:%d subtr:%d sens1:%d sens2:%d \r\n", nrf_data[3], nrf_data[4], adc3, (int)vbat*10, (int)vbatreceiver*10,
		!pin1, !pin2, !pin3, !pin4, nrf_data[7], nrf_data[8], nrf_data[9]);
		CDC_Transmit_FS((uint8_t*)str_tx, strlen(str_tx));

		adc[0] = 0;
		adc[1] = 0;
		adc[2] = 0;
		adc[3] = 0;
		adc[4] = 0;
		HAL_ADC_Start_DMA(&hadc1, (uint32_t*)&adc, 5);
	}
}

// Подменю датчиков
void sensors(void)
{
	//чтение текущего (нового) состояния кнопки
	unsigned char but_right_cur = HAL_GPIO_ReadPin(GPIOC, Push_R_Pin);
	unsigned char but_left_cur = HAL_GPIO_ReadPin(GPIOB, Push_L_Pin);
	unsigned char but_r_cur = HAL_GPIO_ReadPin(R_But_GPIO_Port, R_But_Pin);
	unsigned char but_l_cur = HAL_GPIO_ReadPin(L_But_GPIO_Port, L_But_Pin);

	uint8_t nrf_data[32] = {0,}; // буфер указываем максимального размера
	float vbat;

	if(flag)
	{
		flag = 0;

		HAL_ADC_Stop_DMA(&hadc1); // это необязательно

		adc1 = map(adc[1], 0, 4095, 1, 256); // 1 канал высота
		adc2 = map(adc[0], 0, 4095, 1, 256); // 0 канал элероны
		adc3 = map(adc[3], 0, 4095, 1, 256); // 9 канал АЦП - мотор
		adc4 = map(adc[4], 0, 4095, 1, 255); // 2 канал АЦП - киль

		vbat = (3.3/4095)*adc[2]*kd * 10; // 3,3 В на делителе при 11,6 В максимальном, дальше делитель не имее смысла

		adc[0] = 0;
		adc[1] = 0;
		adc[2] = 0;
		adc[3] = 0;
		adc[4] = 0;
		HAL_ADC_Start_DMA(&hadc1, (uint32_t*)&adc, 5);
	}

	LCD_print("Sens1:", 0, 0);
	LCD_var_str(40, 0, sens1, 4);

	LCD_print("Subtrim:", 0, 1);
	LCD_var_str(40, 1, subtrim, 4);

	LCD_print("Sens2", 0, 2);
	LCD_var_str(40, 2, sens2, 4);

	LCD_print("VBat:", 0, 3);
	LCD_var_str(30, 3, vbat, 3);
	LCD_print("Bat:", 43, 3);
	LCD_print("Signal:", 0, 4);

	nrf_data[0] = 77;
	nrf_data[1] = 86;
	nrf_data[2] = 97;
	nrf_data[3] = adc1; //
	nrf_data[4] = adc2; //
	nrf_data[5] = 1;
	nrf_data[6] = 100; // чтобы приемник знал, что шлем установки
	nrf_data[7] = subtrim;
	nrf_data[8] = sens1;
	nrf_data[9] = sens2;
	nrf_data[10] = adc4;

	uint8_t remsg = 0; // переменная для приёма байта пришедшего вместе с ответом
	float vbatreceiver; // для вычисления напряжения батареи на приемнике

	if(write(&nrf_data, strlen((const char*)nrf_data))) // отправляем данные
	{
		if(isAckPayloadAvailable()) // проверяем пришло ли что-то вместе с ответом
		{
		read(&remsg, sizeof(remsg)); // получаем напряжение с батареи с ответом подтверждения
			vbatreceiver = remsg / 10; // вычитаем напругу батареи, делим на 10 чтобы получить реальное число
			LCD_var_str(65, 3, vbatreceiver, 3);
			snprintf(str_tx, 64, "Bat: %d \r\n", (int)vbatreceiver*10);
			CDC_Transmit_FS((unsigned char*)str_tx, strlen(str_tx));
			LCD_print("Yes", 45, 4);
		}
	}
	else
	LCD_print("No", 45, 4);

	snprintf(str_tx, 63, "ADC1 X1:%d Y1:%d  M:%d Ch:%d subtr:%d\n", nrf_data[3], nrf_data[4], nrf_data[5], nrf_data[6], nrf_data[7]);
	CDC_Transmit_FS((uint8_t*)str_tx, strlen(str_tx));

	// кнопка была нажата, если
	// прежнее состояние - отпущена (бит = 1),
	// а новое состояние - нажата (бит = 0)
	if ((but_right_prev == GPIO_PIN_RESET) && (but_right_cur == GPIO_PIN_SET))
	{
		subtrim += 5;
		HAL_GPIO_TogglePin(GPIOC, GPIO_PIN_13);
		// Чтобы не вылезти за границу
		if (subtrim > 140)
		{
			subtrim = 0;
		}
	}
	but_right_prev = but_right_cur;

	if ((but_left_prev == GPIO_PIN_RESET) && (but_left_cur == GPIO_PIN_SET))
	{
		subtrim -= 5;
		HAL_GPIO_TogglePin(GPIOC, GPIO_PIN_13);
		// Чтобы не вылезти за 0
		if (subtrim > 140)
		{
			subtrim = 0;
		}
	}
	// запоминаем текущее состояние кнопки
	but_left_prev = but_left_cur;

	//Увеличиваем чувствительность
	if ((but_r_prev == GPIO_PIN_RESET) && (but_r_cur == GPIO_PIN_SET) )
	{
		if (HAL_GPIO_ReadPin(GPIOB, Push_L_Pin))
		{
			sens1 += 5;
			if (sens1 > 60)
			{
				sens1 = 0;
			}
		}
			else
			{
				sens2 += 5;
				if (sens2 > 60)
				{
					sens2 = 30;
				}
			}
		HAL_GPIO_TogglePin(GPIOC, GPIO_PIN_13);
	}
	but_r_prev = but_r_cur;

	//Уменьшаем чувствительность при зажатой правой кнопке
	if ((but_l_prev == GPIO_PIN_RESET) && (but_l_cur == GPIO_PIN_SET))
	{
		if (HAL_GPIO_ReadPin(GPIOB, Push_L_Pin))
		{
		sens1 -= 5;
			if (sens1 > 60)
			{
				sens1 = 0;
			}
		}
		else
			{
				sens2 -= 5;
				if (sens2 > 60)
				{
					sens2 = 0;
				}
			}
		HAL_GPIO_TogglePin(GPIOC, GPIO_PIN_13);

	}
	but_l_prev = but_l_cur;
}

//вкл/выкл подсветки
void led_lcd(void)
{
	uint32_t timme = HAL_GetTick();
	while ((HAL_GPIO_ReadPin(R_But_GPIO_Port, R_But_Pin) == RESET) && (HAL_GPIO_ReadPin(L_But_GPIO_Port, L_But_Pin) == RESET))
	{
		// пока нажаты кнопки проверяем на таймер
		if((HAL_GetTick() - timme) > 500) // интервал 500мс = 0.5 сек
		{
			HAL_GPIO_TogglePin(LCD_LED_GPIO_Port, LCD_LED_Pin);
		}
	}
}

// кнопка правого стика
bool right_button(void)
{
	unsigned char but_right_cur = HAL_GPIO_ReadPin(GPIOC, Push_R_Pin);
	if ((but_right_prev == GPIO_PIN_RESET) && (but_right_cur == GPIO_PIN_SET))
	{
		return 1;
	}
	// запоминаем текущее состояние кнопки
	but_right_prev = but_right_cur;
	return 0;
}

// кнопка левого стика
bool left_button(void)
{
	unsigned char but_left_cur = HAL_GPIO_ReadPin(GPIOB, Push_L_Pin);
	if ((but_left_prev == GPIO_PIN_RESET) && (but_left_cur == GPIO_PIN_SET))
	{
		return 1;
	}
	// запоминаем текущее состояние кнопки
	but_left_prev = but_left_cur;
	return 0;
}

// Функция для перевода одного диапазаона в другой
long map(long x, long in_min, long in_max, long out_min, long out_max)
{
  return (x - in_min) * (out_max - out_min) / (in_max - in_min) + out_min;
}

//Функция на одновременное нажатие кнопок
bool twobuttons(void)
{
	uint32_t timme = HAL_GetTick();
	// пока нажаты кнопки проверяем на таймер
	while((HAL_GPIO_ReadPin(GPIOB, Push_L_Pin) == GPIO_PIN_RESET) && (HAL_GPIO_ReadPin(GPIOC, Push_R_Pin) == GPIO_PIN_RESET))
	{
		if((HAL_GetTick() - timme) > 1000) // интервал 1000мс = 1сек
		{
			// попадаем в цикл и ждём отпускания кнопок, чтобы не сработало ещё раз где нибудь, где ожидается нажатие двух кнопок
			while((HAL_GPIO_ReadPin(GPIOB, Push_L_Pin) == GPIO_PIN_SET) && (HAL_GPIO_ReadPin(GPIOC, Push_R_Pin) == GPIO_PIN_SET))
			{
	//			;
			}
			return 1;
		}
	}
	return 0;
}

//speaker
void speaker (void)
{
	uint32_t timme = HAL_GetTick();
	//запуск PWM
	HAL_TIM_PWM_Start_IT(&htim4, TIM_CHANNEL_1);
	if((HAL_GetTick() - timme) > 500) // интервал 1000мс = 1сек
	{
		HAL_TIM_PWM_Stop_IT(&htim4, TIM_CHANNEL_1);
	}
}

void test(void)
{
	if(flag)
	{
		flag = 0;

		HAL_ADC_Stop_DMA(&hadc1);

		LCD_print("X1:", 0, 0);
		LCD_var_str(18, 0, adc[4], 4);
		LCD_print("X2:", 43, 0);
		LCD_var_str(60, 0, adc[0], 4);

		LCD_print("Y1:", 0, 1);
		LCD_var_str(18, 1, adc[3], 4);
		LCD_print("Y2:", 43, 1);
		LCD_var_str(60, 1, adc[1], 4);

		LCD_print("A5:", 0, 2);
		LCD_var_str(18, 2, adc[2], 4);

		float vbat = (3.3/4095) * adc[2] * kd;

		LCD_print("VBat:", 0, 3);
		LCD_var_str(30, 3, vbat, 3);
		LCD_print("Bat:", 43, 3);

		LCD_print("Signal:", 0, 4);

		snprintf(str_tx, 120, "Ch0: %d Ch1: %d Ch2: %d Ch3: %d Ch4: %d Vbat: %.3f \r\n", adc[0], adc[1], adc[2], adc[3], adc[4], (float)vbat);
		CDC_Transmit_FS((uint8_t*)str_tx, strlen(str_tx));
		HAL_Delay(100);

		adc[0] = 0;
		adc[1] = 0;
		adc[2] = 0;
		adc[3] = 0;
		adc[4] = 0;
		HAL_ADC_Start_DMA(&hadc1, (uint32_t*)&adc, 5);
	}
}

/* USER CODE END 4 */

void Error_Handler(void)
{
}

/************************ (C) COPYRIGHT STMicroelectronics *****END OF FILE****/
